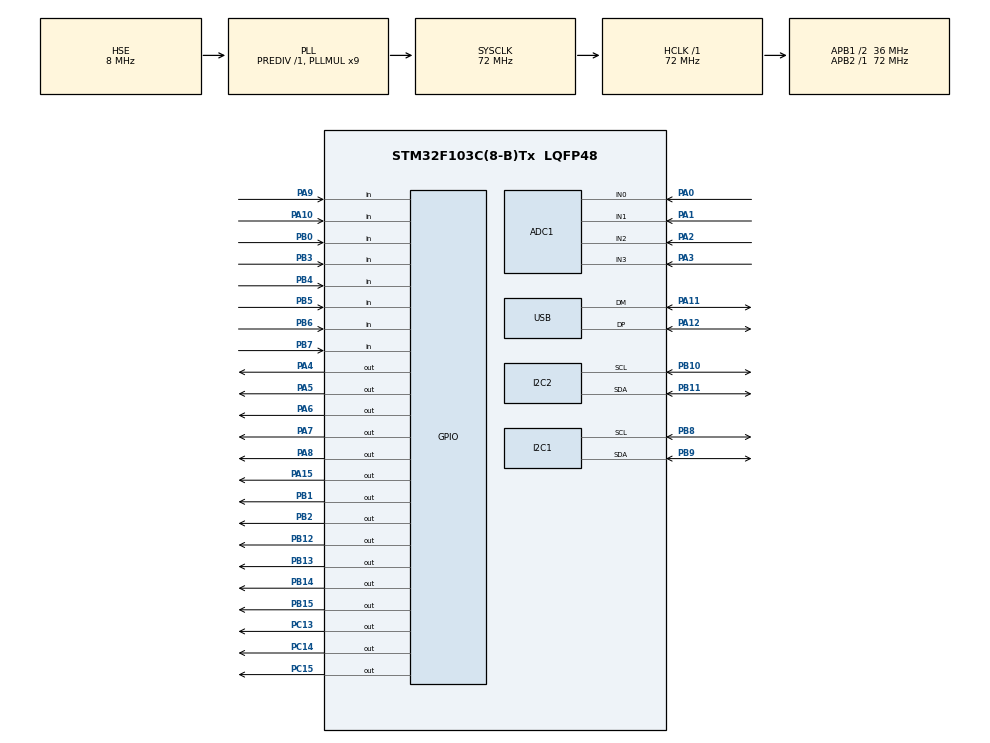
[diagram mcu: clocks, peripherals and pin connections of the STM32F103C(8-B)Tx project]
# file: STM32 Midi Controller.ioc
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ADC1.Channel-1\#ChannelRegularConversion=ADC_CHANNEL_1
ADC1.ContinuousConvMode=DISABLE
ADC1.DataAlign=ADC_DATAALIGN_RIGHT
ADC1.DiscontinuousConvMode=DISABLE
ADC1.EnableRegularConversion=ENABLE
ADC1.NbrOfConversion=1
ADC1.NbrOfConversionFlag=1
ADC1.Rank-1\#ChannelRegularConversion=1
ADC1.SamplingTime-1\#ChannelRegularConversion=ADC_SAMPLETIME_1CYCLE_5
ADC1.master=1
Dma.I2C1_TX.0.Direction=DMA_MEMORY_TO_PERIPH
Dma.I2C1_TX.0.Instance=DMA1_Channel6
Dma.I2C1_TX.0.MemDataAlignment=DMA_MDATAALIGN_BYTE
Dma.I2C1_TX.0.MemInc=DMA_MINC_ENABLE
Dma.I2C1_TX.0.Mode=DMA_CIRCULAR
Dma.I2C1_TX.0.PeriphDataAlignment=DMA_PDATAALIGN_BYTE
Dma.I2C1_TX.0.PeriphInc=DMA_PINC_DISABLE
Dma.I2C1_TX.0.Priority=DMA_PRIORITY_LOW
Dma.I2C2_TX.1.Direction=DMA_MEMORY_TO_PERIPH
Dma.I2C2_TX.1.Instance=DMA1_Channel4
Dma.I2C2_TX.1.MemDataAlignment=DMA_MDATAALIGN_BYTE
Dma.I2C2_TX.1.MemInc=DMA_MINC_ENABLE
Dma.I2C2_TX.1.Mode=DMA_NORMAL
Dma.I2C2_TX.1.PeriphDataAlignment=DMA_PDATAALIGN_BYTE
Dma.I2C2_TX.1.PeriphInc=DMA_PINC_DISABLE
Dma.I2C2_TX.1.Priority=DMA_PRIORITY_LOW
Dma.Request0=I2C1_TX
Dma.Request1=I2C2_TX
I2C1.I2C_Mode=I2C_Fast
I2C2.I2C_Mode=I2C_Standard
IWDG.Prescaler=IWDG_PRESCALER_16
Mcu.Family=STM32F1
Mcu.Name=STM32F103C(8-B)Tx
Mcu.Package=LQFP48
NVIC.DMA1_Channel6_IRQn=true\:0\:0\:false\:true\:true\:3\:true\:true
NVIC.I2C2_EV_IRQn=true\:0\:0\:false\:true\:true\:4\:true\:true
NVIC.PriorityGroup=NVIC_PRIORITYGROUP_4
NVIC.TIM2_IRQn=true\:1\:0\:true\:true\:true\:1\:true\:true
NVIC.TIM3_IRQn=true\:2\:0\:true\:true\:true\:2\:true\:true
NVIC.USB_LP_CAN1_RX0_IRQn=true\:0\:0\:false\:false\:true\:false\:true
PA0-WKUP.Signal=ADCx_IN0
PA1.Signal=ADCx_IN1
PA10.Signal=GPIO_Input
PA11.Mode=Device
PA11.Signal=USB_DM
PA12.Mode=Device
PA12.Signal=USB_DP
PA15.GPIO_Speed=GPIO_SPEED_FREQ_HIGH
PA15.Signal=GPIO_Output
PA2.Signal=ADCx_IN2
PA3.Signal=ADCx_IN3
PA4.GPIO_Speed=GPIO_SPEED_FREQ_HIGH
PA4.Signal=GPIO_Output
PA5.GPIO_Speed=GPIO_SPEED_FREQ_HIGH
PA5.Signal=GPIO_Output
PA6.GPIO_Speed=GPIO_SPEED_FREQ_HIGH
PA6.Signal=GPIO_Output
PA7.GPIO_Speed=GPIO_SPEED_FREQ_HIGH
PA7.Signal=GPIO_Output
PA8.GPIO_Speed=GPIO_SPEED_FREQ_HIGH
PA8.Signal=GPIO_Output
PA9.Signal=GPIO_Input
PB0.GPIO_PuPd=GPIO_PULLUP
PB0.Signal=GPIO_Input
PB1.GPIO_Speed=GPIO_SPEED_FREQ_HIGH
PB1.Signal=GPIO_Output
PB10.Mode=I2C
PB10.Signal=I2C2_SCL
PB11.Mode=I2C
PB11.Signal=I2C2_SDA
PB12.GPIO_Speed=GPIO_SPEED_FREQ_HIGH
PB12.Signal=GPIO_Output
PB13.GPIO_Speed=GPIO_SPEED_FREQ_HIGH
PB13.Signal=GPIO_Output
PB14.GPIO_Speed=GPIO_SPEED_FREQ_HIGH
PB14.Signal=GPIO_Output
PB15.GPIO_Speed=GPIO_SPEED_FREQ_HIGH
PB15.Signal=GPIO_Output
PB2.Signal=GPIO_Output
PB3.GPIO_PuPd=GPIO_PULLDOWN
PB3.Signal=GPIO_Input
PB4.GPIO_PuPd=GPIO_PULLDOWN
PB4.Signal=GPIO_Input
PB5.GPIO_PuPd=GPIO_PULLDOWN
PB5.Signal=GPIO_Input
PB6.GPIO_PuPd=GPIO_PULLDOWN
PB6.Signal=GPIO_Input
PB7.GPIO_PuPd=GPIO_PULLDOWN
PB7.Signal=GPIO_Input
PB8.Mode=I2C
PB8.Signal=I2C1_SCL
PB9.Mode=I2C
PB9.Signal=I2C1_SDA
PC13-TAMPER-RTC.GPIO_Speed=GPIO_SPEED_FREQ_HIGH
PC13-TAMPER-RTC.Signal=GPIO_Output
PC14-OSC32_IN.GPIO_Speed=GPIO_SPEED_FREQ_HIGH
PC14-OSC32_IN.Signal=GPIO_Output
PC15-OSC32_OUT.GPIO_ModeDefaultOutputPP=GPIO_MODE_OUTPUT_PP
PC15-OSC32_OUT.GPIO_Speed=GPIO_SPEED_FREQ_HIGH
PC15-OSC32_OUT.Signal=GPIO_Output
PD0-OSC_IN.Mode=HSE-External-Oscillator
PD0-OSC_IN.Signal=RCC_OSC_IN
PD1-OSC_OUT.Mode=HSE-External-Oscillator
PD1-OSC_OUT.Signal=RCC_OSC_OUT
ProjectManager.HeapSize=0x200
ProjectManager.StackSize=0x400
ProjectManager.TargetToolchain=STM32CubeIDE
RCC.ADCPresc=RCC_ADCPCLK2_DIV6
RCC.AHBFreq_Value=72000000
RCC.APB1CLKDivider=RCC_HCLK_DIV2
RCC.APB1Freq_Value=36000000
RCC.APB1TimFreq_Value=72000000
RCC.APB2Freq_Value=72000000
RCC.APB2TimFreq_Value=72000000
RCC.HCLKFreq_Value=72000000
RCC.PLLMUL=RCC_PLL_MUL9
RCC.PLLSourceVirtual=RCC_PLLSOURCE_HSE
RCC.SYSCLKFreq_VALUE=72000000
RCC.SYSCLKSource=RCC_SYSCLKSOURCE_PLLCLK
RCC.USBFreq_Value=48000000
RCC.USBPrescaler=RCC_USBCLKSOURCE_PLL_DIV1_5
SH.ADCx_IN0.0=ADC1_IN0,IN0
SH.ADCx_IN1.0=ADC1_IN1,IN1
SH.ADCx_IN2.0=ADC1_IN2,IN2
SH.ADCx_IN3.0=ADC1_IN3,IN3
TIM2.Period=511
TIM2.Prescaler=1
TIM3.Period=16383
USB_DEVICE.CLASS_NAME_FS=CDC
USB_DEVICE.VirtualMode=Cdc
USB_DEVICE.VirtualModeFS=Cdc_FS
VP_IWDG_VS_IWDG.Mode=IWDG_Activate
VP_SYS_VS_ND.Mode=No_Debug
VP_TIM2_VS_ClockSourceINT.Mode=Internal
VP_TIM3_VS_ClockSourceINT.Mode=Internal
VP_USB_DEVICE_VS_USB_DEVICE_CDC_FS.Mode=CDC_FS
board=custom

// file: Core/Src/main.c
/* USER CODE BEGIN Header */
/**
  ******************************************************************************
  * @file           : main.c
  * @brief          : Main program body
  ******************************************************************************
  * @attention
  *
  * <h2><center>&copy; Copyright (c) 2021 STMicroelectronics.
  * All rights reserved.</center></h2>
  *
  * This software component is licensed by ST under BSD 3-Clause license,
  * the "License"; You may not use this file except in compliance with the
  * License. You may obtain a copy of the License at:
  *                        opensource.org/licenses/BSD-3-Clause
  *
  ******************************************************************************
  */
/* USER CODE END Header */
#include "main.h"
#include "usb_device.h"

/* USER CODE BEGIN Includes */
#include "usbd_cdc_if.h"
#include <stdio.h>
#include "DWT_Delay.h"
#include "LCD.h"
#include "LEDMatrix.h"
#include "Midi.h"
#include "ADC.h"
#include "User_Params.h"
#include "Menu.h"
#include "EEPROM.h"
/* USER CODE END Includes */

ADC_HandleTypeDef hadc1;

I2C_HandleTypeDef hi2c1;
I2C_HandleTypeDef hi2c2;
DMA_HandleTypeDef hdma_i2c1_tx;
DMA_HandleTypeDef hdma_i2c2_tx;

IWDG_HandleTypeDef hiwdg;

TIM_HandleTypeDef htim2;
TIM_HandleTypeDef htim3;

/* USER CODE BEGIN PV */
volatile uint8_t brightness[4] = {1,1,1,1}; //initialize array holding brightness values for the 4 indicator LED's
volatile uint8_t BAMIndex = 0;
volatile uint8_t blocked = 0; //time critical BAM code running, do not disable interrupts

volatile uint8_t currentEncoder = 0; //which encoder are we polling right now?
volatile uint8_t lastEncoder[5] = {0,0,0,0,0};//initialize array containing past encoder readoff
volatile int encoderValues[5] = {0,0,0,0,0};//initialize array containing encoder values
volatile int8_t encoderLUT[16] = {0, -1, 1, 0, 1, 0, 0, -1, -1, 0, 0, 1, 0, 1, -1, 0};
int lastEncoderValues[5] = {0, 0, 0, 0, 0};

uint8_t lastButtonState = 0; //menu encoder's button

uint32_t lastKeyMatrix = 0; //last state of the key matrix
uint32_t currentKeyMatrix = 0; //current state of the key matrix

int8_t MidiCCValues[128];

int adcSmooth[3]; //adc data after its passed thru the IIR filter
int lastFaderValues[3] = {0, 0, 0};

char LCDQueueTop[17];
char LCDQueueBottom[17];
uint8_t LCDTopQueued; //does the LCD have to be updated this round?
uint8_t LCDBottomQueued;

#define MAXIMUM  15
int8_t dIntegrator = 0;
int8_t dOutput = 0;

/* USER CODE END PV */

void SystemClock_Config(void);
static void MX_GPIO_Init(void);
static void MX_DMA_Init(void);
static void MX_ADC1_Init(void);
static void MX_I2C1_Init(void);
static void MX_I2C2_Init(void);
static void MX_TIM2_Init(void);
static void MX_TIM3_Init(void);
static void MX_IWDG_Init(void);
static void MX_NVIC_Init(void);

/* USER CODE BEGIN 0 */

void debug(){
	GPIOA->BSRR = (1<<7);
	GPIOA->BRR = (1<<7);
}

void clampedIncrement(int8_t* n, int8_t inc, int8_t lo, int8_t hi){

	int a = *n;
	int temp = a + inc;

	if(temp < lo){
		*n = lo;
	}
	else if(temp > hi){
		*n = hi;
	}
	else{
		*n = (int8_t)temp;
	}

}

/*
//screw unsigned types....sigh...this crap wasted hours of my life
void uclampedIncrement(uint8_t* n, int8_t inc, uint8_t lo, uint8_t hi){

	int temp = (int)*n + (int)inc;

	if(temp < 0){
		brightness[0] += 5;
		*n = 0;
	}
	else if(temp > hi){
		*n = hi;
	}
	else{
		*n = (uint8_t)temp;
	}

}
*/

/* USER CODE END 0 */

int main(void)
{

  /* MCU Configuration--------------------------------------------------------*/

  /* Reset of all peripherals, Initializes the Flash interface and the Systick. */
  HAL_Init();

  /* Configure the system clock */
  SystemClock_Config();

  /* Initialize all configured peripherals */
  MX_GPIO_Init();
  MX_DMA_Init();
  MX_USB_DEVICE_Init();
  MX_ADC1_Init();
  MX_I2C1_Init();
  MX_I2C2_Init();
  MX_TIM2_Init();
  MX_TIM3_Init();
  MX_IWDG_Init();

  /* Initialize interrupts */
  MX_NVIC_Init();
  /* USER CODE BEGIN 2 */
  NVIC_SetPriorityGrouping(0U); //use standard interrupt grouping

  //init stuff
  DWT_Delay_Init();

/*
  //write in all user parameters to the EEPROM
  I2C2->CR1 |= (1<<8); //send start condition
  while ((I2C2->SR1 & 1) == 0); //clear SB
  I2C2->DR = 0xA0; //address the EEPROM
  while ((I2C2->SR1 & (1<<1)) == 0); //wait for ADDR flag
  while ((I2C2->SR2 & (1<<2)) == 0); //read I2C SR2
  while ((I2C2->SR1 & (1<<7)) == 0); //make sure TxE is 1
  I2C2->DR = 0x0; //write to GPIO_A
  while ((I2C2->SR1 & (1<<7)) == 0); //make sure TxE is 1
  I2C2->DR = 0x0; //present data at output bank A
  while ((I2C2->SR1 & (1<<7)) == 0); //make sure TxE is 1
  I2C2->DR = MidiNoteOffset; //present data at output bank A
  while ((I2C2->SR1 & (1<<7)) == 0); //make sure TxE is 1
  I2C2->DR = MidiNoteVelo; //present data at output bank A
  while ((I2C2->SR1 & (1<<7)) == 0); //make sure TxE is 1
  I2C2->DR = MidiChannel; //present data at output bank A
  while ((I2C2->SR1 & (1<<7)) == 0); //make sure TxE is 1
  I2C2->DR = MidiCCFaderLUT[0]; //present data at output bank A
  while ((I2C2->SR1 & (1<<7)) == 0); //make sure TxE is 1
  I2C2->DR = MidiCCFaderLUT[1]; //present data at output bank A
  while ((I2C2->SR1 & (1<<7)) == 0); //make sure TxE is 1
  I2C2->DR = MidiCCFaderLUT[2]; //present data at output bank A
  while ((I2C2->SR1 & (1<<7)) == 0); //make sure TxE is 1
  I2C2->DR = MidiCCEncoderLUT[0]; //present data at output bank A
  while ((I2C2->SR1 & (1<<7)) == 0); //make sure TxE is 1
  I2C2->DR = MidiCCEncoderLUT[1]; //present data at output bank A
  while ((I2C2->SR1 & (1<<7)) == 0); //make sure TxE is 1
  I2C2->DR = MidiCCEncoderLUT[2]; //present data at output bank A
  while ((I2C2->SR1 & (1<<7)) == 0); //make sure TxE is 1
  I2C2->DR = MidiCCEncoderLUT[3]; //present data at output bank A
  while ((I2C2->SR1 & (1<<7)) == 0); //make sure TxE is 1
  I2C2->DR = EncoderSpeed[0]; //present data at output bank A
  while ((I2C2->SR1 & (1<<7)) == 0); //make sure TxE is 1
  I2C2->DR = EncoderSpeed[1]; //present data at output bank A
  while ((I2C2->SR1 & (1<<7)) == 0); //make sure TxE is 1
  I2C2->DR = EncoderSpeed[2]; //present data at output bank A
  while ((I2C2->SR1 & (1<<7)) == 0); //make sure TxE is 1
  I2C2->DR = EncoderSpeed[3]; //present data at output bank A
  while ((I2C2->SR1 & (1<<7)) == 0); //make sure TxE is 1
  I2C2->DR = EncoderNote[0]; //present data at output bank A
  while ((I2C2->SR1 & (1<<7)) == 0); //make sure TxE is 1
  I2C2->DR = EncoderNote[1]; //present data at output bank A
  while ((I2C2->SR1 & (1<<7)) == 0); //make sure TxE is 1
  I2C2->DR = EncoderNote[2]; //present data at output bank A
  while ((I2C2->SR1 & (1<<7)) == 0); //make sure TxE is 1
  I2C2->DR = EncoderNote[3]; //present data at output bank A
  while ((I2C2->SR1 & (1<<7)) == 0); //make sure TxE is 1
  I2C2->DR = filterBeta; //present data at output bank A
  while ((I2C2->SR1 & (1<<7)) == 0); //make sure TxE is 1
  while ((I2C2->SR1 & (1<<2)) == 0); //make sure BTF is 1
  I2C2->CR1 |= (1<<9); //send stop condition

  DWT_Delay_ms(500);
  */

  //read in all user parameters from the EEPROM
  I2C2->CR1 |= (1<<8); //send start condition

  while ((I2C2->SR1 & 1) == 0); //clear SB
  I2C2->DR = 0xA0; //address the EEPROM in write mode
  while ((I2C2->SR1 & (1<<1)) == 0); //wait for ADDR flag
  while ((I2C2->SR2 & (1<<2)) == 0); //read I2C SR2
  while ((I2C2->SR1 & (1<<7)) == 0); //make sure TxE is 1
  I2C2->DR = 0x0; //address
  while ((I2C2->SR1 & (1<<7)) == 0); //make sure TxE is 1
  I2C2->DR = 0x0; //address
  while ((I2C2->SR1 & (1<<7)) == 0); //make sure TxE is 1
  while ((I2C2->SR1 & (1<<2)) == 0); //make sure BTF is 1
  I2C2->CR1 |= 1<<10;
  I2C2->CR1 |= (1<<8); //send start condition
  while ((I2C2->SR1 & 1) == 0); //clear SB
  I2C2->DR = 0xA1; //address the EEPROM in read mode
  while ((I2C2->SR1 & (1<<1)) == 0); //wait for ADDR flag
  while ((I2C2->SR2) & 0); //read I2C SR2
  while ((I2C2->SR1 & 1<<6) == 0); //wait for RXNE
  MidiNoteOffset = (I2C2->DR) & 0xff;
  while ((I2C2->SR1 & 1<<6) == 0); //wait for RXNE
  MidiNoteVelo = (I2C2->DR) & 0xff;
  while ((I2C2->SR1 & 1<<6) == 0); //wait for RXNE
  MidiChannel = (I2C2->DR) & 0xff;
  while ((I2C2->SR1 & 1<<6) == 0); //wait for RXNE
  MidiCCFaderLUT[0] = (I2C2->DR) & 0xff;
  while ((I2C2->SR1 & 1<<6) == 0); //wait for RXNE
  MidiCCFaderLUT[1] = (I2C2->DR) & 0xff;
  while ((I2C2->SR1 & 1<<6) == 0); //wait for RXNE
  MidiCCFaderLUT[2] = (I2C2->DR) & 0xff;
  while ((I2C2->SR1 & 1<<6) == 0); //wait for RXNE
  MidiCCEncoderLUT[0] = (I2C2->DR) & 0xff;
  while ((I2C2->SR1 & 1<<6) == 0); //wait for RXNE
  MidiCCEncoderLUT[1] = (I2C2->DR) & 0xff;
  while ((I2C2->SR1 & 1<<6) == 0); //wait for RXNE
  MidiCCEncoderLUT[2] = (I2C2->DR) & 0xff;
  while ((I2C2->SR1 & 1<<6) == 0); //wait for RXNE
  MidiCCEncoderLUT[3] = (I2C2->DR) & 0xff;
  while ((I2C2->SR1 & 1<<6) == 0); //wait for RXNE
  EncoderSpeed[0] = (I2C2->DR) & 0xff;
  while ((I2C2->SR1 & 1<<6) == 0); //wait for RXNE
  EncoderSpeed[1] = (I2C2->DR) & 0xff;
  while ((I2C2->SR1 & 1<<6) == 0); //wait for RXNE
  EncoderSpeed[2] = (I2C2->DR) & 0xff;
  while ((I2C2->SR1 & 1<<6) == 0); //wait for RXNE
  EncoderSpeed[3] = (I2C2->DR) & 0xff;
  while ((I2C2->SR1 & 1<<6) == 0); //wait for RXNE
  EncoderNote[0] = (I2C2->DR) & 0xff;
  while ((I2C2->SR1 & 1<<6) == 0); //wait for RXNE
  EncoderNote[1] = (I2C2->DR) & 0xff;
  while ((I2C2->SR1 & 1<<6) == 0); //wait for RXNE
  EncoderNote[2] = (I2C2->DR) & 0xff;
  while ((I2C2->SR1 & 1<<6) == 0); //wait for RXNE
  EncoderNote[3] = (I2C2->DR) & 0xff;
  while ((I2C2->SR1 & 1<<6) == 0); //wait for RXNE
  I2C2->CR1 &= ~(1<<10); //NACK
  I2C2->CR1 |= 1<<9; //STOP
  filterBeta = I2C2->DR;

  DWT_Delay_ms(50); //let stuff settle down properly

  IWDG->KR = 0xAAAA; //reset the watchdog timer
  blocked = 0;
  I2C2->CR1 |= 1; //enable i2c 2 peripheral for LCD and EEPROM
  I2C1->CR1 |= 1; //enable i2c 1 peripheral for LED Matrix

  LCDInit(LCD_Address);
  LEDMatrixInit(LEDMatrix_Address);

  LCDClear(LCD_Address);

  LCDSetCursor(1, 1, LCD_Address);

  LCDPrepareInt();

  TIM2->CR1 |= 1; //enable BAM Driver
  TIM3->CR1 |= 1; //enable encoder scan driver

  //indicate where are all the note C's
  for(int8_t i = 0; i < 4; i++){
	  LEDMatrix[i] &= 0xf; //clear all the red channels
  }

  for(int8_t i = 0; i < 16; i++){ //we have 16 keys

	  int8_t row = 3-(i>>2);
	  int8_t col = (i%4);
	  if((MidiNoteOffset+i)%12 == 0){ //this key is a C
		  LEDMatrix[row] |= (1<<(4+col));
	  }

  }

  for(int i = 0; i < 4; i++){ //function to drive the LED's
	  LEDMatrixBuffer[i*4] = 0b1111; //clear all pins first to prevent ghosting
	  LEDMatrixBuffer[i*4+1] = 0x00;
	  LEDMatrixBuffer[i*4+2] = ~(1<<i);
	  LEDMatrixBuffer[i*4+3] = LEDMatrix[i];
  }

  LEDMatrixStart(LEDMatrix_Address);

  for(int i = 0; i < 4; i++){ //function to fill in the MidiNoteLut

	  for(int j = 0; j < 4; j++){

		  MidiNoteLUT[5*(3-i)+j+1] = MidiNoteOffset + (4*i+j); //math...

	  }
	  MidiNoteLUT[5*i] = EncoderNote[i];

  }

  for(int i = 1; i < 4; i++){

	  int currentADC = ADC1ReadVal(i);
	  currentADC += ADC1ReadVal(i);
	  currentADC += ADC1ReadVal(i);
	  currentADC = currentADC/3;

	  lastFaderValues[i-1] = currentADC >> 5;

  }

  for(int i = 0; i < 5; i++){

	  lastEncoderValues[i] = encoderValues[i];

  }

  //memset(MidiCCValues, 0, sizeof(MidiCCValues));

  /* USER CODE END 2 */

  /* Infinite loop */
  /* USER CODE BEGIN WHILE */
  while (1)
  {
	  IWDG->KR = 0xAAAA; //reset the watchdog timer
	  flushMidi();
    /* USER CODE END WHILE */

    /* USER CODE BEGIN 3 */

	  brightness[0] = MidiCCValues[MidiCCEncoderLUT[3]] << 1;
	  brightness[1] = MidiCCValues[MidiCCEncoderLUT[2]] << 1;
	  brightness[2] = MidiCCValues[MidiCCEncoderLUT[1]] << 1;
	  brightness[3] = MidiCCValues[MidiCCEncoderLUT[0]] << 1;

	 uint8_t currentButtonState = ((GPIOB->IDR)&1);

	 /*
	  *
	  * debounce.c
		written by Kenneth A. Kuhn
		version 1.00
	  */

	 /* Step 1: Update the integrator based on the input signal.  Note that the
	 integrator follows the input, decreasing or increasing towards the limits as
	 determined by the input state (0 or 1). */

	 if (currentButtonState == 0){ //button is currently depressed
		 if(dIntegrator < MAXIMUM){
			 dIntegrator++;
		 }
	 }
	 else if(dIntegrator > 0){ //button is not depressed
		 dIntegrator--;
	 }

	 /* Step 2: Update the output state based on the integrator.  Note that the
	 output will only change states if the integrator has reached a limit, either

	 0 or MAXIMUM. */

	 if(dIntegrator == 0){
		 dOutput = 0;
	 }

	 else if(dIntegrator >= MAXIMUM){
		 dOutput = 1;
		 dIntegrator = MAXIMUM; /* defensive code if integrator got corrupted */
	 }

	 /*begin button handler*/
	 if (dOutput == 1 && lastButtonState == 0){ //button has been pressed

		 switch (status){

		 case Status:
			 //we are now entering menu mode
			 status = Menu;
			 menuItemSelected = 0; //start from the first item
			 snprintf(LCDQueueTop, 17, "\x7E%s", menuItems[menuItemSelected]);
			 snprintf(LCDQueueBottom, 17, " %s", menuItems[menuItemSelected+1]); //normally you'd have to check if there is a next item available, but since this is only the menu init, we don't have to. (We will have to in the encoder-rotated handler)
			 LCDTopQueued = 1; //signal that we need to update the LCD
			 LCDBottomQueued = 1;
			 break;

		 case Menu:
			 //we are already in our menu, time to enter whatever submenu is selected (or exit)
			 if(menuItemSelected != MENU_SIZE){ //we have not selected "back", go into the selected SubMenu;
				 status = SubMenu;
				 subMenuSelected = menuItemSelected;
				 parameterSelected = 0; //start afresh
				 snprintf(LCDQueueTop, 17, "\x7E%s", (*(subMenus[subMenuSelected]+parameterSelected)));
				 snprintf(LCDQueueBottom, 17, " %s", (*(subMenus[subMenuSelected]+parameterSelected+1)));
				 LCDTopQueued = 1; //signal that we need to update the LCD
				 LCDBottomQueued = 1;

			 }

			 else{ //exit menu back into status
				 status = Status;
				 snprintf(LCDQueueTop, 17, "                "); //clear LCD
				 snprintf(LCDQueueBottom, 17, "                ");
				 LCDTopQueued = 1; //signal that we need to update the LCD
				 LCDBottomQueued = 1;
			 }
			 break;

		 case SubMenu:

			 if(parameterSelected != subMenuSizes[subMenuSelected]){//we have not selected "back", go into selected parameter page
				 status = ParaSet;
				 snprintf(LCDQueueTop, 17, "%s", (*(subMenus[subMenuSelected]+parameterSelected))); //print the current parameter on the top line
				 if((subMenuSelected == 2) | (subMenuSelected == 3 && parameterSelected == 0)){ //if we are changing notenames
					 snprintf(LCDQueueBottom, 17, "%s%d", noteNames[(*(*(parameters[subMenuSelected]+parameterSelected))) % 12], (int8_t)(((*(*(parameters[subMenuSelected]+parameterSelected))) / 12) - 1)); //print the NOTENAME of the parameter under question
				 }
				 else{
					 snprintf(LCDQueueBottom, 17, "%d", (*(*(parameters[subMenuSelected]+parameterSelected)))); //print the current value of the parameter under question
				 }
				 LCDTopQueued = 1; //signal that we need to update the LCD
				 LCDBottomQueued = 1;
			 }

			 else{ //exit sub menu back into main menu
				 status = Menu;
				 snprintf(LCDQueueTop, 17, "\x7E%s", menuItems[menuItemSelected]);
				 snprintf(LCDQueueBottom, 17, " %s", menuItems[menuItemSelected+1]); //normally you'd have to check if there is a next item available, but since this is only the menu init, we don't have to. (We will have to in the encoder-rotated handler)
				 LCDTopQueued = 1; //signal that we need to update the LCD
				 LCDBottomQueued = 1;
			 }
			 break;

		 case ParaSet: //save parameter and return to the SubMenu

			 status = SubMenu;

			 EEPROMWriteParameter(*(parameterEAddrs[subMenuSelected]+parameterSelected), *(*(parameters[subMenuSelected]+parameterSelected)));

			 //if we were changing notenames
			 if((subMenuSelected == 2) | (subMenuSelected == 3 && parameterSelected == 0)){ //update the note definitions

				 for(int i = 0; i < 4; i++){ //function to fill in the MidiNoteLut

					 for(int j = 0; j < 4; j++){

						 MidiNoteLUT[5*(3-i)+j+1] = MidiNoteOffset + (4*i+j); //math...

					 }
					 MidiNoteLUT[5*i] = EncoderNote[i];

				 }
			 }
			 snprintf(LCDQueueTop, 17, "\x7E%s", (*(subMenus[subMenuSelected]+parameterSelected)));
			 snprintf(LCDQueueBottom, 17, " %s", (*(subMenus[subMenuSelected]+parameterSelected+1)));
			 LCDTopQueued = 1; //signal that we need to update the LCD
			 LCDBottomQueued = 1;

			 break;

		 default:
			 break;

		 }

	 }
	 lastButtonState = dOutput;
	 /* end button handler */

	 /* begin control encoder rotated handler */
	 if(((encoderValues[4] - lastEncoderValues[4]) >= 2) | ((lastEncoderValues[4] - encoderValues[4]) >= 2)){ //control encoder has been rotated

		 int8_t increment = encoderValues[4]>lastEncoderValues[4] ? 1 : -1; //this control encoder is 2 counts per indent

		 switch (status){

		 case Menu:

			 clampedIncrement(&menuItemSelected, increment, 0, MENU_SIZE);
			 if(increment > 0 && menuItemSelected != 0){ //we advance in the menu, pointer should be in second row
				 snprintf(LCDQueueTop, 17, " %s", menuItems[menuItemSelected-1]);
				 snprintf(LCDQueueBottom, 17, "\x7E%s", menuItems[menuItemSelected]);
			 }
			 else if(menuItemSelected != MENU_SIZE){
				 snprintf(LCDQueueTop, 17, "\x7E%s", menuItems[menuItemSelected]);
				 snprintf(LCDQueueBottom, 17, " %s", menuItems[menuItemSelected+1]);
			 }
			 LCDTopQueued = 1; //signal that we need to update the LCD
			 LCDBottomQueued = 1;
			 break;

		 case SubMenu:

			 clampedIncrement(&parameterSelected, increment, 0, subMenuSizes[subMenuSelected]);
			 if(increment > 0 && parameterSelected != 0){ //we advance in the menu, pointer should be in second row
				 snprintf(LCDQueueTop, 17, " %s", (*(subMenus[subMenuSelected]+parameterSelected-1)));
				 snprintf(LCDQueueBottom, 17, "\x7E%s", (*(subMenus[subMenuSelected]+parameterSelected)));
			 }
			 else if(parameterSelected != subMenuSizes[subMenuSelected]){
				 snprintf(LCDQueueTop, 17, "\x7E%s", (*(subMenus[subMenuSelected]+parameterSelected)));
				 snprintf(LCDQueueBottom, 17, " %s", (*(subMenus[subMenuSelected]+parameterSelected+1)));
			 }
			 LCDTopQueued = 1; //signal that we need to update the LCD
			 LCDBottomQueued = 1;
			 break;

		 case ParaSet:

			 clampedIncrement((*(parameters[subMenuSelected]+parameterSelected)), increment, (*(parameterLBs[subMenuSelected]+parameterSelected)), (*(parameterUBs[subMenuSelected]+parameterSelected)));

			 //if we are changing notenames
			 if((subMenuSelected == 2) | (subMenuSelected == 3 && parameterSelected == 0)){
				 snprintf(LCDQueueBottom, 17, "%s%d", noteNames[(*(*(parameters[subMenuSelected]+parameterSelected))) % 12], (int8_t)(((*(*(parameters[subMenuSelected]+parameterSelected))) / 12) - 1)); //print the NOTENAME of the parameter under question
			 }
			 else{
				 //snprintf(LCDQueueBottom, 17, "%d", *(parameterLBs[subMenuSelected]+parameterSelected));
				 snprintf(LCDQueueBottom, 17, "%d", (*(*(parameters[subMenuSelected]+parameterSelected))));//print the current value of the parameter under question
			 }

			 //update red LED's to indicate positions of C
			 if(subMenuSelected == 3 && parameterSelected == 0){

				 for(int8_t i = 0; i < 4; i++){
					 LEDMatrix[i] &= 0xf; //clear all the red channels
				 }

				 for(int8_t i = 0; i < 16; i++){ //we have 16 keys

					 int8_t row = 3-(i>>2);
					 int8_t col = (i%4);
					 if((MidiNoteOffset+i)%12 == 0){ //this key is a C
						 LEDMatrix[row] |= (1<<(4+col));
					 }

				 }
				 for(int i = 0; i < 4; i++){ //function to drive the LED's

					 LEDMatrixBuffer[i*4] = 0b1111; //clear all pins first to prevent ghosting
					 LEDMatrixBuffer[i*4+1] = 0x00;
					 LEDMatrixBuffer[i*4+2] = ~(1<<i);
					 LEDMatrixBuffer[i*4+3] = LEDMatrix[i];

				 }
			 }

			 //nothing special

			 LCDBottomQueued = 1;
			 break;

		 default:
			 break;

		 }

		 lastEncoderValues[4] = encoderValues[4];
	 }
	 /* end control encoder rotated handler */

	 /*begin CC encoder handler*/
	  for(int i = 0; i < 4; i++){ //send encoder CC Values

		  if(encoderValues[i] != lastEncoderValues[i]){ //encoder was rotated

			  int8_t increment = encoderValues[i] > lastEncoderValues[i] ? 1 : -1;
			  clampedIncrement(&MidiCCValues[MidiCCEncoderLUT[i]], increment*EncoderSpeed[i], 0, 127);
			  MidiCC(MidiChannel, MidiCCEncoderLUT[i], MidiCCValues[MidiCCEncoderLUT[i]]);

			  if(status == Status){
				  snprintf(LCDQueueTop, 17, "CC %d", MidiCCEncoderLUT[i]);
				  LCDTopQueued = 1;
				  snprintf(LCDQueueBottom, 17, "%-16d", MidiCCValues[MidiCCEncoderLUT[i]]);
				  LCDBottomQueued = 1;
			  }

			  lastEncoderValues[i] = encoderValues[i];

		  }

	  }
	  /*end CC encoder handler*/

	  /*begin ADC handler*/
	  for(int j = 1; j < 4; j++){

		  int i = j-1;
		  int currentADC = ADC1ReadVal(j);
		  //IIR filter https://kiritchatterjee.wordpress.com/2014/11/10/a-simple-digital-low-pass-filter-in-c/
		  //but we are working in 12 bit fixed point anyways
		  adcSmooth[i] = (adcSmooth[i] << filterBeta) - adcSmooth[i];
		  adcSmooth[i] += currentADC;
		  adcSmooth[i] = adcSmooth[i] >> filterBeta;

		  currentADC = adcSmooth[i] >> 5; //convert the filter output to 7 bit, and store it currentADC
		  //Note: lastFaderValues[i] is 7 bit
		  //Note: this is NOT division for signed ints, due to the sign bit in front

		  if(lastFaderValues[i] != currentADC){ // this particular ADC Channel has been updated

			  MidiCCValues[MidiCCFaderLUT[i]] = currentADC & 0x7f; //mask off only last 7 bits

			  MidiCC(MidiChannel, MidiCCFaderLUT[i], MidiCCValues[MidiCCFaderLUT[i]]);

			  if(status == Status){
				  snprintf(LCDQueueTop, 17, "CC %d", MidiCCFaderLUT[i]);
				  LCDTopQueued = 1;
				  snprintf(LCDQueueBottom, 17, "%-16d", MidiCCValues[MidiCCFaderLUT[i]]);
				  LCDBottomQueued = 1;
			  }

			  lastFaderValues[i] = currentADC;

		  }

	  }
	  /*end ADC handler*/

	  //scan key matrix
	  for(int i = 0; i < 4; i++){

		  GPIOA->BRR = (0b1111 << 4);  //clear all of PA 4,5,6,7
		  GPIOA->BSRR = (1 << (4+i));  //energize the ith row
		  currentKeyMatrix |= ((((GPIOB->IDR) >> 3) & 0b11111) << (5*i)); //hmmmmmmmmm

	  }

	  //a key was pressed
	  if(currentKeyMatrix != lastKeyMatrix){

		  //handle keys here
		  for(int i = 0; i < 4; i++){
			  LEDMatrix[3-i] &= 0xf0; //clear the greens
			  LEDMatrix[3-i] |= (currentKeyMatrix >> ((5*i)+1)) & 0b1111;
			  //LEDMatrix[3-i] = (1<<i); //FRAK ZERO INDEXING alkfjngkjkfla (originally the idiot me had 4-i)
			  //hmmm, but on a more serious note tho, why is this array out of bounds not detected... that's definitely something to keep in mind
		  }

		  for(int i = 0; i < 4; i++){ //function to drive the LED's

			  LEDMatrixBuffer[i*4] = 0b1111; //clear all pins first to prevent ghosting
			  LEDMatrixBuffer[i*4+1] = 0x00;
			  LEDMatrixBuffer[i*4+2] = ~(1<<i);
			  LEDMatrixBuffer[i*4+3] = LEDMatrix[i];

		   }

		  for(int i = 0; i < 20; i++){ //iterate through all 20 bits and send out Midi Note messages as necessary

			  if((currentKeyMatrix & (1<<i)) && ((lastKeyMatrix & (1<<i)) == 0)){ //this key was pressed

				  MidiNoteOn(MidiChannel, MidiNoteLUT[i], MidiNoteVelo);

			  }

			  else if((lastKeyMatrix & (1<<i)) && ((currentKeyMatrix & (1<<i)) == 0)){

				  MidiNoteOff(MidiChannel, MidiNoteLUT[i], 0);

			  }

		  }

		  lastKeyMatrix = currentKeyMatrix;
	  }

	  currentKeyMatrix = 0; //start afresh

	  if(!isLCDPrinting){ //update LCD here
		  //assumption: at most only one parameter will be changed with each loop, therefore, only allow for 1 queued write

		  if(LCDTopQueued){
			  LCDPrintStringTop(LCDQueueTop);
			  LCDTopQueued = 0;
		  }
		  else if(LCDBottomQueued){
			  LCDPrintStringBottom(LCDQueueBottom);
			  LCDBottomQueued = 0;
		  }

	  }

  }
  /* USER CODE END 3 */
}

void SystemClock_Config(void)
{
  RCC_OscInitTypeDef RCC_OscInitStruct = {0};
  RCC_ClkInitTypeDef RCC_ClkInitStruct = {0};
  RCC_PeriphCLKInitTypeDef PeriphClkInit = {0};

  /** Initializes the RCC Oscillators according to the specified parameters
  * in the RCC_OscInitTypeDef structure.
  */
  RCC_OscInitStruct.OscillatorType = RCC_OSCILLATORTYPE_LSI|RCC_OSCILLATORTYPE_HSE;
  RCC_OscInitStruct.HSEState = RCC_HSE_ON;
  RCC_OscInitStruct.HSEPredivValue = RCC_HSE_PREDIV_DIV1;
  RCC_OscInitStruct.HSIState = RCC_HSI_ON;
  RCC_OscInitStruct.LSIState = RCC_LSI_ON;
  RCC_OscInitStruct.PLL.PLLState = RCC_PLL_ON;
  RCC_OscInitStruct.PLL.PLLSource = RCC_PLLSOURCE_HSE;
  RCC_OscInitStruct.PLL.PLLMUL = RCC_PLL_MUL9;
  if (HAL_RCC_OscConfig(&RCC_OscInitStruct) != HAL_OK)
  {
    Error_Handler();
  }
  /** Initializes the CPU, AHB and APB buses clocks
  */
  RCC_ClkInitStruct.ClockType = RCC_CLOCKTYPE_HCLK|RCC_CLOCKTYPE_SYSCLK
                              |RCC_CLOCKTYPE_PCLK1|RCC_CLOCKTYPE_PCLK2;
  RCC_ClkInitStruct.SYSCLKSource = RCC_SYSCLKSOURCE_PLLCLK;
  RCC_ClkInitStruct.AHBCLKDivider = RCC_SYSCLK_DIV1;
  RCC_ClkInitStruct.APB1CLKDivider = RCC_HCLK_DIV2;
  RCC_ClkInitStruct.APB2CLKDivider = RCC_HCLK_DIV1;

  if (HAL_RCC_ClockConfig(&RCC_ClkInitStruct, FLASH_LATENCY_2) != HAL_OK)
  {
    Error_Handler();
  }
  PeriphClkInit.PeriphClockSelection = RCC_PERIPHCLK_ADC|RCC_PERIPHCLK_USB;
  PeriphClkInit.AdcClockSelection = RCC_ADCPCLK2_DIV6;
  PeriphClkInit.UsbClockSelection = RCC_USBCLKSOURCE_PLL_DIV1_5;
  if (HAL_RCCEx_PeriphCLKConfig(&PeriphClkInit) != HAL_OK)
  {
    Error_Handler();
  }
}

/**
  * @brief NVIC Configuration.
  * @retval None
  */
static void MX_NVIC_Init(void)
{
  /* TIM2_IRQn interrupt configuration */
  HAL_NVIC_SetPriority(TIM2_IRQn, 1, 0);
  HAL_NVIC_EnableIRQ(TIM2_IRQn);
  /* TIM3_IRQn interrupt configuration */
  HAL_NVIC_SetPriority(TIM3_IRQn, 2, 0);
  HAL_NVIC_EnableIRQ(TIM3_IRQn);
  /* DMA1_Channel6_IRQn interrupt configuration */
  HAL_NVIC_SetPriority(DMA1_Channel6_IRQn, 0, 0);
  HAL_NVIC_EnableIRQ(DMA1_Channel6_IRQn);
  /* I2C2_EV_IRQn interrupt configuration */
  HAL_NVIC_SetPriority(I2C2_EV_IRQn, 0, 0);
  HAL_NVIC_EnableIRQ(I2C2_EV_IRQn);
}

static void MX_ADC1_Init(void)
{

  ADC_ChannelConfTypeDef sConfig = {0};

  /** Common config
  */
  hadc1.Instance = ADC1;
  hadc1.Init.ScanConvMode = ADC_SCAN_DISABLE;
  hadc1.Init.ContinuousConvMode = DISABLE;
  hadc1.Init.DiscontinuousConvMode = DISABLE;
  hadc1.Init.ExternalTrigConv = ADC_SOFTWARE_START;
  hadc1.Init.DataAlign = ADC_DATAALIGN_RIGHT;
  hadc1.Init.NbrOfConversion = 1;
  if (HAL_ADC_Init(&hadc1) != HAL_OK)
  {
    Error_Handler();
  }
  /** Configure Regular Channel
  */
  sConfig.Channel = ADC_CHANNEL_1;
  sConfig.Rank = ADC_REGULAR_RANK_1;
  sConfig.SamplingTime = ADC_SAMPLETIME_1CYCLE_5;
  if (HAL_ADC_ConfigChannel(&hadc1, &sConfig) != HAL_OK)
  {
    Error_Handler();
  }
  /* USER CODE BEGIN ADC1_Init 2 */
  ADC1->CR2 |= 1; //turn on ADC1
  /* USER CODE END ADC1_Init 2 */

}

static void MX_I2C1_Init(void)
{

  hi2c1.Instance = I2C1;
  hi2c1.Init.ClockSpeed = 400000;
  hi2c1.Init.DutyCycle = I2C_DUTYCYCLE_2;
  hi2c1.Init.OwnAddress1 = 0;
  hi2c1.Init.AddressingMode = I2C_ADDRESSINGMODE_7BIT;
  hi2c1.Init.DualAddressMode = I2C_DUALADDRESS_DISABLE;
  hi2c1.Init.OwnAddress2 = 0;
  hi2c1.Init.GeneralCallMode = I2C_GENERALCALL_DISABLE;
  hi2c1.Init.NoStretchMode = I2C_NOSTRETCH_DISABLE;
  if (HAL_I2C_Init(&hi2c1) != HAL_OK)
  {
    Error_Handler();
  }
  /* USER CODE BEGIN I2C1_Init 2 */

  //dude, the code generation is evil... doesn't help you all the way!!! Came a gutsa so many times....

  /* USER CODE END I2C1_Init 2 */

}

static void MX_I2C2_Init(void)
{

  hi2c2.Instance = I2C2;
  hi2c2.Init.ClockSpeed = 100000;
  hi2c2.Init.DutyCycle = I2C_DUTYCYCLE_2;
  hi2c2.Init.OwnAddress1 = 0;
  hi2c2.Init.AddressingMode = I2C_ADDRESSINGMODE_7BIT;
  hi2c2.Init.DualAddressMode = I2C_DUALADDRESS_DISABLE;
  hi2c2.Init.OwnAddress2 = 0;
  hi2c2.Init.GeneralCallMode = I2C_GENERALCALL_DISABLE;
  hi2c2.Init.NoStretchMode = I2C_NOSTRETCH_DISABLE;
  if (HAL_I2C_Init(&hi2c2) != HAL_OK)
  {
    Error_Handler();
  }
  /* USER CODE BEGIN I2C2_Init 2 */
  //I2C2->CR2 |= (1<<9); //enable event interrupts
  //TODO: this is just temporarily here, might cause issues
  /* USER CODE END I2C2_Init 2 */

}

static void MX_IWDG_Init(void)
{

  hiwdg.Instance = IWDG;
  hiwdg.Init.Prescaler = IWDG_PRESCALER_16;
  hiwdg.Init.Reload = 4095;
  if (HAL_IWDG_Init(&hiwdg) != HAL_OK)
  {
    Error_Handler();
  }

}

static void MX_TIM2_Init(void)
{

  TIM_ClockConfigTypeDef sClockSourceConfig = {0};
  TIM_MasterConfigTypeDef sMasterConfig = {0};

  htim2.Instance = TIM2;
  htim2.Init.Prescaler = 1;
  htim2.Init.CounterMode = TIM_COUNTERMODE_UP;
  htim2.Init.Period = 511;
  htim2.Init.ClockDivision = TIM_CLOCKDIVISION_DIV1;
  htim2.Init.AutoReloadPreload = TIM_AUTORELOAD_PRELOAD_DISABLE;
  if (HAL_TIM_Base_Init(&htim2) != HAL_OK)
  {
    Error_Handler();
  }
  sClockSourceConfig.ClockSource = TIM_CLOCKSOURCE_INTERNAL;
  if (HAL_TIM_ConfigClockSource(&htim2, &sClockSourceConfig) != HAL_OK)
  {
    Error_Handler();
  }
  sMasterConfig.MasterOutputTrigger = TIM_TRGO_RESET;
  sMasterConfig.MasterSlaveMode = TIM_MASTERSLAVEMODE_DISABLE;
  if (HAL_TIMEx_MasterConfigSynchronization(&htim2, &sMasterConfig) != HAL_OK)
  {
    Error_Handler();
  }
  /* USER CODE BEGIN TIM2_Init 2 */
  TIM2->CR1 &= ~(1<<1); //Clear the UDIS bit to ensure the BAM Interrupt is triggered
  TIM2->DIER |= 1; //Update interrupt enable

  /* USER CODE END TIM2_Init 2 */

}

static void MX_TIM3_Init(void)
{

  TIM_ClockConfigTypeDef sClockSourceConfig = {0};
  TIM_MasterConfigTypeDef sMasterConfig = {0};

  htim3.Instance = TIM3;
  htim3.Init.Prescaler = 0;
  htim3.Init.CounterMode = TIM_COUNTERMODE_UP;
  htim3.Init.Period = 16383;
  htim3.Init.ClockDivision = TIM_CLOCKDIVISION_DIV1;
  htim3.Init.AutoReloadPreload = TIM_AUTORELOAD_PRELOAD_DISABLE;
  if (HAL_TIM_Base_Init(&htim3) != HAL_OK)
  {
    Error_Handler();
  }
  sClockSourceConfig.ClockSource = TIM_CLOCKSOURCE_INTERNAL;
  if (HAL_TIM_ConfigClockSource(&htim3, &sClockSourceConfig) != HAL_OK)
  {
    Error_Handler();
  }
  sMasterConfig.MasterOutputTrigger = TIM_TRGO_RESET;
  sMasterConfig.MasterSlaveMode = TIM_MASTERSLAVEMODE_DISABLE;
  if (HAL_TIMEx_MasterConfigSynchronization(&htim3, &sMasterConfig) != HAL_OK)
  {
    Error_Handler();
  }
  /* USER CODE BEGIN TIM3_Init 2 */
  TIM3->CR1 &= ~(1<<1); //Clear the UDIS bit to ensure the Encoder Scan Interrupt is triggered
  TIM3->DIER |= 1; //Update interrupt enable
  /* USER CODE END TIM3_Init 2 */

}

static void MX_DMA_Init(void)
{

  /* DMA controller clock enable */
  __HAL_RCC_DMA1_CLK_ENABLE();

}

static void MX_GPIO_Init(void)
{
  GPIO_InitTypeDef GPIO_InitStruct = {0};

  /* GPIO Ports Clock Enable */
  __HAL_RCC_GPIOC_CLK_ENABLE();
  __HAL_RCC_GPIOD_CLK_ENABLE();
  __HAL_RCC_GPIOA_CLK_ENABLE();
  __HAL_RCC_GPIOB_CLK_ENABLE();

  /*Configure GPIO pin Output Level */
  HAL_GPIO_WritePin(GPIOC, GPIO_PIN_13|GPIO_PIN_14|GPIO_PIN_15, GPIO_PIN_RESET);

  /*Configure GPIO pin Output Level */
  HAL_GPIO_WritePin(GPIOA, GPIO_PIN_4|GPIO_PIN_5|GPIO_PIN_6|GPIO_PIN_7
                          |GPIO_PIN_8|GPIO_PIN_15, GPIO_PIN_RESET);

  /*Configure GPIO pin Output Level */
  HAL_GPIO_WritePin(GPIOB, GPIO_PIN_1|GPIO_PIN_2|GPIO_PIN_12|GPIO_PIN_13
                          |GPIO_PIN_14|GPIO_PIN_15, GPIO_PIN_RESET);

  /*Configure GPIO pins : PC13 PC14 PC15 */
  GPIO_InitStruct.Pin = GPIO_PIN_13|GPIO_PIN_14|GPIO_PIN_15;
  GPIO_InitStruct.Mode = GPIO_MODE_OUTPUT_PP;
  GPIO_InitStruct.Pull = GPIO_NOPULL;
  GPIO_InitStruct.Speed = GPIO_SPEED_FREQ_HIGH;
  HAL_GPIO_Init(GPIOC, &GPIO_InitStruct);

  /*Configure GPIO pins : PA4 PA5 PA6 PA7
                           PA8 PA15 */
  GPIO_InitStruct.Pin = GPIO_PIN_4|GPIO_PIN_5|GPIO_PIN_6|GPIO_PIN_7
                          |GPIO_PIN_8|GPIO_PIN_15;
  GPIO_InitStruct.Mode = GPIO_MODE_OUTPUT_PP;
  GPIO_InitStruct.Pull = GPIO_NOPULL;
  GPIO_InitStruct.Speed = GPIO_SPEED_FREQ_HIGH;
  HAL_GPIO_Init(GPIOA, &GPIO_InitStruct);

  /*Configure GPIO pin : PB0 */
  GPIO_InitStruct.Pin = GPIO_PIN_0;
  GPIO_InitStruct.Mode = GPIO_MODE_INPUT;
  GPIO_InitStruct.Pull = GPIO_PULLUP;
  HAL_GPIO_Init(GPIOB, &GPIO_InitStruct);

  /*Configure GPIO pins : PB1 PB12 PB13 PB14
                           PB15 */
  GPIO_InitStruct.Pin = GPIO_PIN_1|GPIO_PIN_12|GPIO_PIN_13|GPIO_PIN_14
                          |GPIO_PIN_15;
  GPIO_InitStruct.Mode = GPIO_MODE_OUTPUT_PP;
  GPIO_InitStruct.Pull = GPIO_NOPULL;
  GPIO_InitStruct.Speed = GPIO_SPEED_FREQ_HIGH;
  HAL_GPIO_Init(GPIOB, &GPIO_InitStruct);

  /*Configure GPIO pin : PB2 */
  GPIO_InitStruct.Pin = GPIO_PIN_2;
  GPIO_InitStruct.Mode = GPIO_MODE_OUTPUT_PP;
  GPIO_InitStruct.Pull = GPIO_NOPULL;
  GPIO_InitStruct.Speed = GPIO_SPEED_FREQ_LOW;
  HAL_GPIO_Init(GPIOB, &GPIO_InitStruct);

  /*Configure GPIO pins : PA9 PA10 */
  GPIO_InitStruct.Pin = GPIO_PIN_9|GPIO_PIN_10;
  GPIO_InitStruct.Mode = GPIO_MODE_INPUT;
  GPIO_InitStruct.Pull = GPIO_NOPULL;
  HAL_GPIO_Init(GPIOA, &GPIO_InitStruct);

  /*Configure GPIO pins : PB3 PB4 PB5 PB6
                           PB7 */
  GPIO_InitStruct.Pin = GPIO_PIN_3|GPIO_PIN_4|GPIO_PIN_5|GPIO_PIN_6
                          |GPIO_PIN_7;
  GPIO_InitStruct.Mode = GPIO_MODE_INPUT;
  GPIO_InitStruct.Pull = GPIO_PULLDOWN;
  HAL_GPIO_Init(GPIOB, &GPIO_InitStruct);

}

void Error_Handler(void)
{
  __disable_irq();
  while (1)
  {
  }
}

/************************ (C) COPYRIGHT STMicroelectronics *****END OF FILE****/
